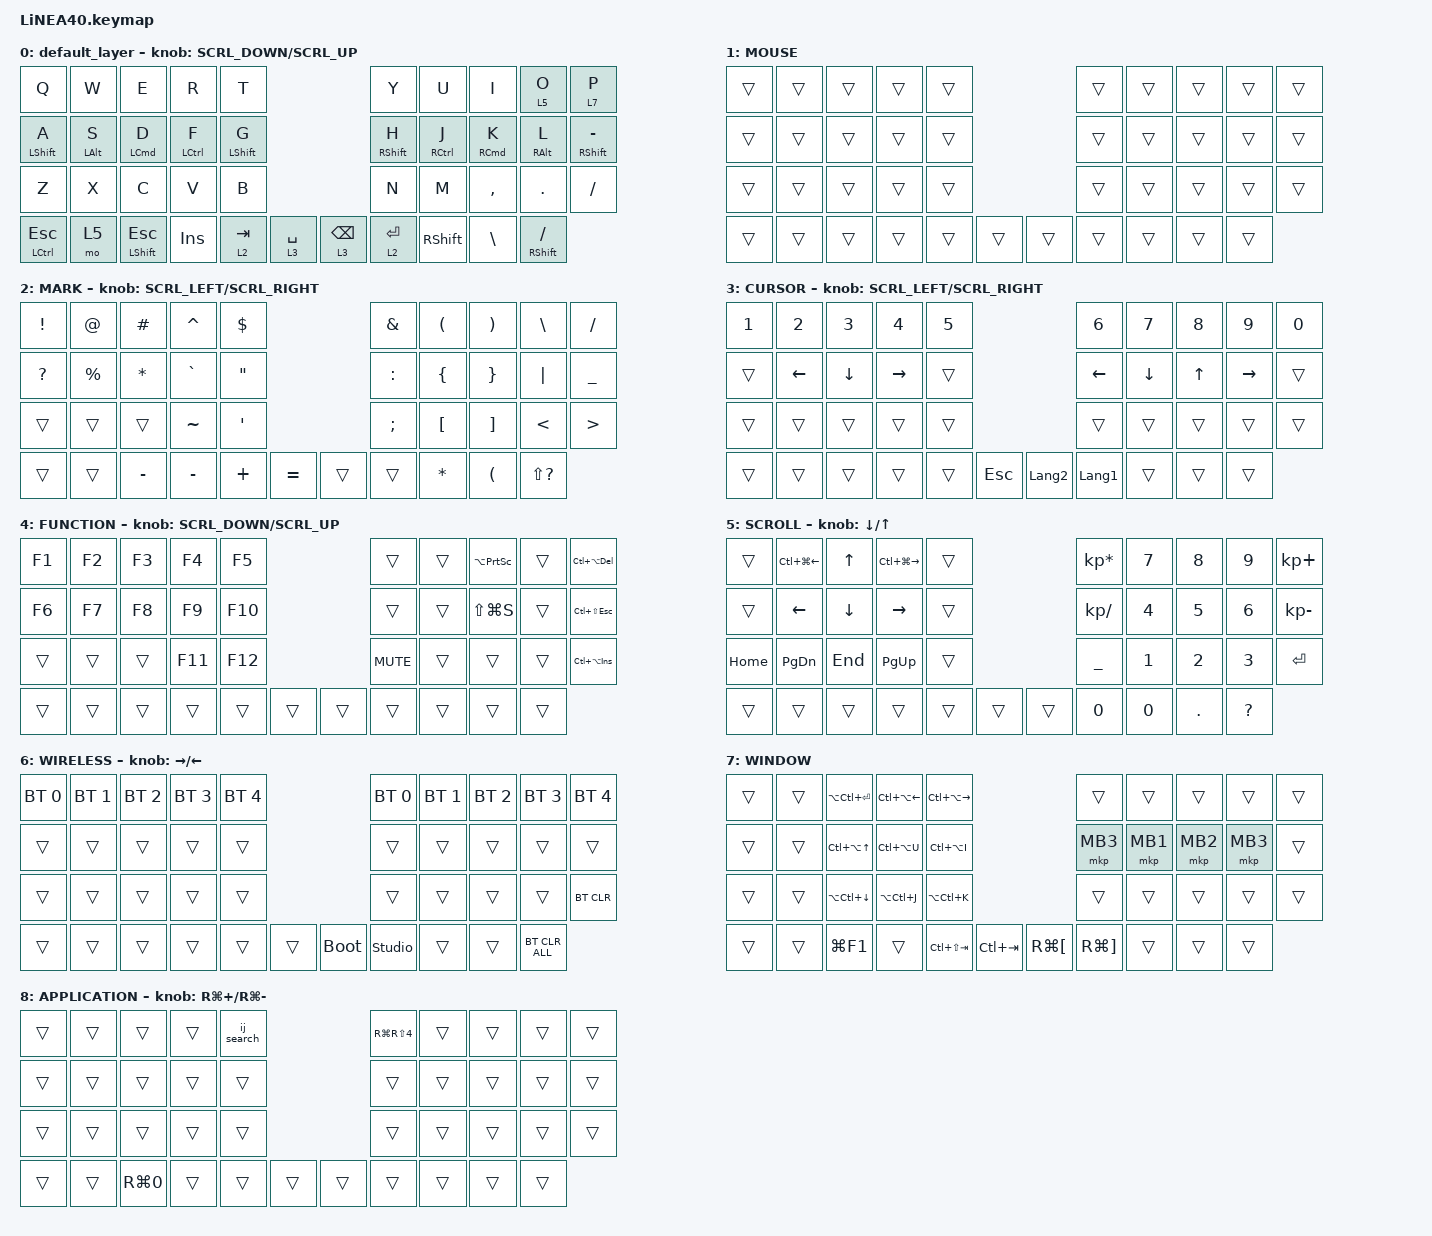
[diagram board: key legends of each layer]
#define ZMK_POINTING_DEFAULT_SCRL_VAL 150

#include <dt-bindings/zmk/input_transform.h>
#include <input/processors.dtsi>
#include <zephyr/dt-bindings/input/input-event-codes.h>
#include <behaviors.dtsi>
#include <dt-bindings/zmk/bt.h>
#include <dt-bindings/zmk/keys.h>
#include <dt-bindings/zmk/pointing.h>

#define MOUSE 1
#define MARK 2
#define CURSOR 3
#define FUNCTION 4
#define SCROLL 5
#define WIRELESS 6

//mouse cursol

&mmv {
    delay-ms = <20>;
    trigger-period-ms = <5>;
    time-to-max-speed-ms = <100>;
    acceleration-exponent = <2>;
};

//mouse scroll

&msc {
    delay-ms = <3>;
    trigger-period-ms = <3>;
    time-to-max-speed-ms = <100>;
    acceleration-exponent = <0>;
};

&mt {
    quick-tap-ms = <200>;
    flavor = "balanced";
};

&lt {
    quick-tap-ms = <200>;
    flavor = "balanced";
};

/ {
    input_processors {
        zip_wheel_scaler: zip_wheel_scaler {
            compatible = "zmk,input-processor-scaler";
            #input-processor-cells = <2>;
            type = <INPUT_EV_REL>;
            codes = <INPUT_REL_WHEEL>;
            track-remainders;
        };
    };
};

&msc_input_listener {
    speed_up {
        layers = <FUNCTION>;
        input-processors = <&zip_wheel_scaler 3 1>; //スクロールを3倍速にする
    };
};

&trackball_listener {
    scroller {
        layers = <SCROLL>;
        input-processors =
            <&zip_xy_transform INPUT_TRANSFORM_Y_INVERT>,
            //スクロール方向を逆転,,,,,,,,,,,,,,,
            <&zip_xy_to_scroll_mapper>;
    };
};

/ {
    combos {
        compatible = "zmk,combos";

        DeleteKey {
            bindings = <&kp DEL>;
            key-positions = <8 9>;
        };

        CenterClick {
            bindings = <&mkp MB3>;
            key-positions = <17 16>;
            layers = <7>;
        };

        RightClick {
            bindings = <&mkp MB2>;
            key-positions = <18 17>;
            layers = <7>;
        };

        PrevClick {
            bindings = <&mkp MB4>;
            key-positions = <27 28>;
            layers = <7>;
        };

        ClickNext {
            bindings = <&mkp MB5>;
            key-positions = <26 27>;
            layers = <7>;
        };

        ESCKey {
            bindings = <&kp ESCAPE>;
            key-positions = <0 1>;
        };

        TABKey {
            bindings = <&kp TAB>;
            key-positions = <10 11>;
            timeout-ms = <30>;
            require-prior-idle-ms = <100>;
        };
    };

    behaviors {
        re_kp: sensor_rotate_kp {
            compatible = "zmk,behavior-sensor-rotate-var";
            #sensor-binding-cells = <2>;
            bindings = <&kp>, <&kp>;
        };

        mouse_scrl: mouse_wheel_scrl {
            compatible = "zmk,behavior-sensor-rotate-var";
            #sensor-binding-cells = <2>;
            bindings = <&msc>, <&msc>;

            tap-ms = <20>;
        };

        mouse_scrl_high: mouse_scrl_high {
            compatible = "zmk,behavior-sensor-rotate-var";
            #sensor-binding-cells = <2>;
            bindings = <&msc>, <&msc>;

            tap-ms = <5>;
        };
    };

    macros {
        ij_search: SEARCH_EVERYWHERE {
            compatible = "zmk,behavior-macro";
            #binding-cells = <0>;
            bindings = <&kp RIGHT_SHIFT &kp RIGHT_SHIFT>;
            label = "SEARCH_EVERYWHERE";
        };
    };

    keymap {
        compatible = "zmk,keymap";

        default_layer {
            bindings = <
&kp Q             &kp W           &kp E                  &kp R               &kp T                                             &kp Y              &kp U                &kp I                &lt 5 O          &lt 7 P
&mt LEFT_SHIFT A  &mt LEFT_ALT S  &mt LEFT_COMMAND D     &mt LEFT_CONTROL F  &mt LEFT_SHIFT G                                  &mt RIGHT_SHIFT H  &mt RIGHT_CONTROL J  &mt RIGHT_COMMAND K  &mt RIGHT_ALT L  &mt RIGHT_SHIFT MINUS
&kp Z             &kp X           &kp C                  &kp V               &kp B                                             &kp N              &kp M                &kp COMMA            &kp DOT          &kp SLASH
&mt LCTRL ESC     &mo 5           &mt LEFT_SHIFT ESCAPE  &kp INS             &lt 2 TAB         &lt 3 SPACE    &lt 3 BACKSPACE  &lt 2 ENTER                             &kp RIGHT_SHIFT      &kp BACKSLASH    &mt RIGHT_SHIFT SLASH
            >;

            sensor-bindings = <&mouse_scrl_high SCRL_DOWN SCRL_UP>;
        };

        MOUSE {
            bindings = <
&trans  &trans  &trans  &trans  &trans                    &trans  &trans  &trans  &trans  &trans
&trans  &trans  &trans  &trans  &trans                    &trans  &trans  &trans  &trans  &trans
&trans  &trans  &trans  &trans  &trans                    &trans  &trans  &trans  &trans  &trans
&trans  &trans  &trans  &trans  &trans  &trans    &trans  &trans          &trans  &trans  &trans
            >;
        };

        MARK {
            bindings = <
&kp EXCLAMATION  &kp AT       &kp HASH      &kp CARET  &kp DOLLAR                              &kp AMPERSAND  &kp LEFT_PARENTHESIS  &kp RIGHT_PARENTHESIS  &kp BACKSLASH         &kp SLASH
&kp QUESTION     &kp PERCENT  &kp ASTERISK  &kp GRAVE  &kp DOUBLE_QUOTES                       &kp COLON      &kp LEFT_BRACE        &kp RIGHT_BRACE        &kp PIPE              &kp UNDERSCORE
&trans           &trans       &trans        &kp TILDE  &kp SQT                                 &kp SEMICOLON  &kp LEFT_BRACKET      &kp RIGHT_BRACKET      &kp LESS_THAN         &kp GREATER_THAN
&trans           &trans       &kp MINUS     &kp MINUS  &kp PLUS           &kp EQUAL    &trans  &trans                               &kp ASTERISK           &kp LEFT_PARENTHESIS  &kp LS(QUESTION)
            >;

            sensor-bindings = <&mouse_scrl SCRL_LEFT SCRL_RIGHT>;
        };

        CURSOR {
            bindings = <
&kp NUMBER_1  &kp NUMBER_2    &kp NUMBER_3  &kp NUMBER_4     &kp NUMBER_5                                &kp NUMBER_6    &kp NUMBER_7  &kp NUMBER_8  &kp NUMBER_9     &kp NUMBER_0
&trans        &kp LEFT_ARROW  &kp DOWN      &kp RIGHT_ARROW  &trans                                      &kp LEFT_ARROW  &kp DOWN      &kp UP_ARROW  &kp RIGHT_ARROW  &trans
&trans        &trans          &trans        &trans           &trans                                      &trans          &trans        &trans        &trans           &trans
&trans        &trans          &trans        &trans           &trans        &kp ESCAPE    &kp LANGUAGE_2  &kp LANGUAGE_1                &trans        &trans           &trans
            >;

            sensor-bindings = <&mouse_scrl SCRL_LEFT SCRL_RIGHT>;
        };

        FUNCTION {
            bindings = <
&kp F1  &kp F2  &kp F3  &kp F4   &kp F5                     &trans      &trans  &kp LA(PRINTSCREEN)  &trans  &kp LC(LA(DELETE))
&kp F6  &kp F7  &kp F8  &kp F9   &kp F10                    &trans      &trans  &kp LS(LG(S))        &trans  &kp LC(LS(ESCAPE))
&trans  &trans  &trans  &kp F11  &kp F12                    &kp C_MUTE  &trans  &trans               &trans  &kp LC(LA(INS))
&trans  &trans  &trans  &trans   &trans   &trans    &trans  &trans              &trans               &trans  &trans
            >;

            sensor-bindings = <&mouse_scrl SCRL_DOWN SCRL_UP>;
        };

        SCROLL {
            bindings = <
&trans    &kp LC(LG(LEFT_ARROW))  &kp UP_ARROW  &kp LC(LG(RIGHT_ARROW))  &trans                    &kp KP_MULTIPLY  &kp NUMBER_7  &kp NUMBER_8  &kp NUMBER_9  &kp KP_PLUS
&trans    &kp LEFT_ARROW          &kp DOWN      &kp RIGHT_ARROW          &trans                    &kp KP_SLASH     &kp NUMBER_4  &kp NUMBER_5  &kp NUMBER_6  &kp KP_MINUS
&kp HOME  &kp PAGE_DOWN           &kp END       &kp PAGE_UP              &trans                    &kp UNDER        &kp NUMBER_1  &kp NUMBER_2  &kp NUMBER_3  &kp ENTER
&trans    &trans                  &trans        &trans                   &trans  &trans    &trans  &kp NUMBER_0                   &kp NUMBER_0  &kp DOT       &kp QUESTION
            >;

            sensor-bindings = <&inc_dec_kp DOWN_ARROW UP_ARROW>;
        };

        WIRELESS {
            bindings = <
&bt BT_SEL 0  &bt BT_SEL 1  &bt BT_SEL 2  &bt BT_SEL 3  &bt BT_SEL 4                         &bt BT_SEL 0    &bt BT_SEL 1  &bt BT_SEL 2  &bt BT_SEL 3  &bt BT_SEL 4
&trans        &trans        &trans        &trans        &trans                               &trans          &trans        &trans        &trans        &trans
&trans        &trans        &trans        &trans        &trans                               &trans          &trans        &trans        &trans        &bt BT_CLR
&trans        &trans        &trans        &trans        &trans        &trans    &bootloader  &studio_unlock                &trans        &trans        &bt BT_CLR_ALL
            >;

            sensor-bindings = <&inc_dec_kp RIGHT_ARROW LEFT_ARROW>;
        };

        WINDOW {
            bindings = <
&trans  &trans  &kp LA(LC(ENTER))       &kp LC(LA(LEFT_ARROW))  &kp LC(LA(RIGHT_ARROW))                                       &trans                 &trans    &trans    &trans    &trans
&trans  &trans  &kp LC(LA(UP_ARROW))    &kp LC(LA(U))           &kp LC(LA(I))                                                 &mkp MB3               &mkp MB1  &mkp MB2  &mkp MB3  &trans
&trans  &trans  &kp LA(LC(DOWN_ARROW))  &kp LA(LC(J))           &kp LA(LC(K))                                                 &trans                 &trans    &trans    &trans    &trans
&trans  &trans  &kp LG(F1)              &trans                  &kp LC(LS(TAB))          &kp LC(TAB)    &kp RG(LEFT_BRACKET)  &kp RG(RIGHT_BRACKET)            &trans    &trans    &trans
            >;
        };

        APPLICATION {
            bindings = <
&trans  &trans  &trans            &trans  &ij_search                    &kp RG(RS(NUMBER_4))  &trans  &trans  &trans  &trans
&trans  &trans  &trans            &trans  &trans                        &trans                &trans  &trans  &trans  &trans
&trans  &trans  &trans            &trans  &trans                        &trans                &trans  &trans  &trans  &trans
&trans  &trans  &kp RG(NUMBER_0)  &trans  &trans      &trans    &trans  &trans                        &trans  &trans  &trans
            >;

            sensor-bindings = <&inc_dec_kp RG(PLUS) RG(MINUS)>;
        };
    };
};
